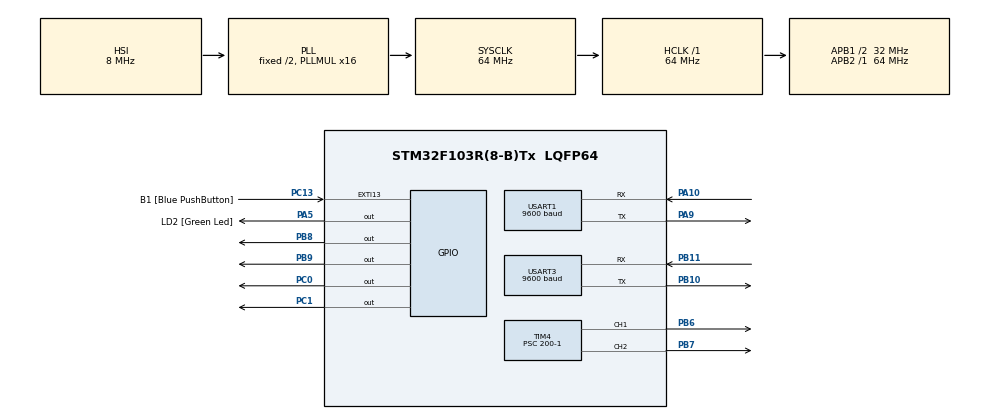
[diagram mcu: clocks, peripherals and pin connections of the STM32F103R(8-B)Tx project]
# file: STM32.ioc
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Mcu.Family=STM32F1
Mcu.Name=STM32F103R(8-B)Tx
Mcu.Package=LQFP64
NVIC.EXTI15_10_IRQn=true\:0\:0\:false\:false\:true\:true\:true
NVIC.PriorityGroup=NVIC_PRIORITYGROUP_4
NVIC.USART1_IRQn=true\:0\:0\:false\:false\:true\:true\:true
PA10.Mode=Asynchronous
PA10.Signal=USART1_RX
PA13.GPIO_Label=TMS
PA13.Mode=Serial_Wire
PA13.Signal=SYS_JTMS-SWDIO
PA14.GPIO_Label=TCK
PA14.Mode=Serial_Wire
PA14.Signal=SYS_JTCK-SWCLK
PA2.GPIO_Label=USART_TX
PA2.GPIO_Mode=GPIO_MODE_AF_PP
PA2.GPIO_PuPd=GPIO_NOPULL
PA2.GPIO_Speed=GPIO_SPEED_FREQ_LOW
PA2.Signal=USART2_TX
PA3.GPIO_Label=USART_RX
PA3.GPIO_Mode=GPIO_MODE_AF_PP
PA3.GPIO_PuPd=GPIO_NOPULL
PA3.GPIO_Speed=GPIO_SPEED_FREQ_LOW
PA3.Signal=USART2_RX
PA5.GPIO_Label=LD2 [Green Led]
PA5.GPIO_ModeDefaultOutputPP=GPIO_MODE_OUTPUT_PP
PA5.GPIO_PuPd=GPIO_NOPULL
PA5.GPIO_Speed=GPIO_SPEED_FREQ_LOW
PA5.Signal=GPIO_Output
PA9.GPIO_Speed=GPIO_SPEED_FREQ_LOW
PA9.Mode=Asynchronous
PA9.Signal=USART1_TX
PB10.Mode=Asynchronous
PB10.Signal=USART3_TX
PB11.Mode=Asynchronous
PB11.Signal=USART3_RX
PB3.GPIO_Label=SWO
PB3.Signal=SYS_JTDO-TRACESWO
PB6.Signal=S_TIM4_CH1
PB7.Signal=S_TIM4_CH2
PB8.Signal=GPIO_Output
PB9.Signal=GPIO_Output
PC0.Signal=GPIO_Output
PC1.Signal=GPIO_Output
PC13-TAMPER-RTC.GPIO_Label=B1 [Blue PushButton]
PC13-TAMPER-RTC.GPIO_PuPd=GPIO_NOPULL
PC13-TAMPER-RTC.Signal=GPXTI13
PC14-OSC32_IN.Mode=LSE-External-Oscillator
PC14-OSC32_IN.Signal=RCC_OSC32_IN
PC15-OSC32_OUT.Mode=LSE-External-Oscillator
PC15-OSC32_OUT.Signal=RCC_OSC32_OUT
PD0-OSC_IN.Mode=HSE-External-Clock-Source
PD0-OSC_IN.Signal=RCC_OSC_IN
PD1-OSC_OUT.Mode=HSE-External-Clock-Source
PD1-OSC_OUT.Signal=RCC_OSC_OUT
ProjectManager.HeapSize=0x200
ProjectManager.StackSize=0x400
ProjectManager.TargetToolchain=STM32CubeIDE
RCC.AHBFreq_Value=64000000
RCC.APB1CLKDivider=RCC_HCLK_DIV2
RCC.APB1Freq_Value=32000000
RCC.APB1TimFreq_Value=64000000
RCC.APB2Freq_Value=64000000
RCC.APB2TimFreq_Value=64000000
RCC.HCLKFreq_Value=64000000
RCC.PLLMUL=RCC_PLL_MUL16
RCC.RTCClockSelection=RCC_RTCCLKSOURCE_LSE
RCC.SYSCLKFreq_VALUE=64000000
RCC.SYSCLKSource=RCC_SYSCLKSOURCE_PLLCLK
RCC.USBFreq_Value=64000000
SH.S_TIM4_CH1.0=TIM4_CH1,PWM Generation1 CH1
SH.S_TIM4_CH2.0=TIM4_CH2,PWM Generation2 CH2
TIM4.Channel-PWM\ Generation1\ CH1=TIM_CHANNEL_1
TIM4.Channel-PWM\ Generation2\ CH2=TIM_CHANNEL_2
TIM4.Period=1000-1
TIM4.Prescaler=200-1
USART1.BaudRate=9600
USART1.VirtualMode=VM_ASYNC
USART3.BaudRate=9600
USART3.VirtualMode=VM_ASYNC
board=NUCLEO-F103RB

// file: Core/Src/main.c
/* USER CODE BEGIN Header */
/**
  ******************************************************************************
  * @file           : main.c
  * @brief          : Main program body
  ******************************************************************************
  * @attention
  *
  * <h2><center>&copy; Copyright (c) 2020 STMicroelectronics.
  * All rights reserved.</center></h2>
  *
  * This software component is licensed by ST under BSD 3-Clause license,
  * the "License"; You may not use this file except in compliance with the
  * License. You may obtain a copy of the License at:
  *                        opensource.org/licenses/BSD-3-Clause
  *
  ******************************************************************************
  */
/* USER CODE END Header */
#include "main.h"

/* USER CODE BEGIN Includes */
#include <stdio.h>
#include <stdlib.h>
#include <stdint.h>
#include <string.h>
/* USER CODE END Includes */

TIM_HandleTypeDef htim4;

UART_HandleTypeDef huart1;
UART_HandleTypeDef huart3;

/* USER CODE BEGIN PV */
uint32_t PWM1 = 0;				//current pwm on channel 1
uint32_t PWM2 = 0;				//current pwm on channel 2

uint8_t dataUART1[32];			//buffor for uart data
/* USER CODE END PV */

void SystemClock_Config(void);
static void MX_GPIO_Init(void);
static void MX_USART3_UART_Init(void);
static void MX_USART1_UART_Init(void);
static void MX_TIM4_Init(void);
/* USER CODE BEGIN PFP */

/*
 * printf override
 * */
int __io_putchar(int ch)
{
	HAL_UART_Transmit(&huart3, (uint8_t*)&ch, 1, 1000);
	return ch;
}

/*
 * Set pwm on specified channel
 * */
void SetPWM(uint8_t channelIndex, uint32_t value)
{
	TIM_OC_InitTypeDef sConfigOC = {0};

	sConfigOC.OCMode = TIM_OCMODE_PWM1;
	sConfigOC.OCPolarity = TIM_OCPOLARITY_HIGH;
	sConfigOC.OCFastMode = TIM_OCFAST_DISABLE;

	if(channelIndex == 1){
		HAL_TIM_PWM_Stop(&htim4, TIM_CHANNEL_1);

		PWM1 = value;
		sConfigOC.Pulse = value;

		if (HAL_TIM_PWM_ConfigChannel(&htim4, &sConfigOC, TIM_CHANNEL_1) != HAL_OK)
		{
			Error_Handler();
		}

		HAL_TIM_PWM_Start(&htim4, TIM_CHANNEL_1);
	}

	if(channelIndex == 2){
		HAL_TIM_PWM_Stop(&htim4, TIM_CHANNEL_2);

		PWM2 = value;
		sConfigOC.Pulse = value;

		if (HAL_TIM_PWM_ConfigChannel(&htim4, &sConfigOC, TIM_CHANNEL_2) != HAL_OK)
		{
			Error_Handler();
		}

		HAL_TIM_PWM_Start(&htim4, TIM_CHANNEL_2);
	}
}

/*
 * Help to print response from HM10 with different data size
 * */
void PrintResponse(uint8_t size){
	for(uint8_t i = 0; i < size ;i++){
		printf("%c", dataUART1[i]);
	}
	printf("\r\n");
}

/*
 * Just send welcome message to HM10
 * */
void SendOK(void)
{
	HAL_UART_Transmit(&huart1, (uint8_t*)"AT", strlen("AT"), 100);

	HAL_UART_Receive(&huart1, dataUART1, 2, 1000);

	printf("OK response: ");
	PrintResponse(2);

	HAL_Delay(100);
}

/*
 * Send bound rate to HM10
 * */
void SendBaud(void)
{
	HAL_UART_Transmit(&huart1, (uint8_t*)"AT+BAUD0", strlen("AT+BAUD0"), 100);

	HAL_UART_Receive(&huart1, dataUART1, 8, 1000);

	printf("Baud response: ");
	PrintResponse(8);

	HAL_Delay(100);
}

/*
 * Send BT name to HM10
 * */
void SendName(void)
{
	HAL_UART_Transmit(&huart1, (uint8_t*)"AT+NAMEstm32car", strlen("AT+NAMEstm32car"), 100);

	HAL_UART_Receive(&huart1, dataUART1, 16, 1000);

	printf("Name response: ");
	PrintResponse(16);

	HAL_Delay(100);
}

/*
 * Send PIN code to HM10
 * */
void SendPIN(void)
{
	HAL_UART_Transmit(&huart1, (uint8_t*)"AT+PASS123456", strlen("AT+PASS123456"), 100);

	HAL_UART_Receive(&huart1, dataUART1, 14, 1000);

	printf("Pin response: ");
	PrintResponse(13);

	HAL_Delay(100);
}

/*
 * Make PIN required (1) or not (0)
 * */
void SendBond(void)
{
	HAL_UART_Transmit(&huart1, (uint8_t*)"AT+TYPE1", strlen("AT+TYPE1"), 100);

	HAL_UART_Receive(&huart1, dataUART1, 8, 1000);

	printf("Bond response: ");
	PrintResponse(8);

	HAL_Delay(100);
}

/*
 * Set role master (0) or slave (1)
 * */
void SendRole(void)
{
	HAL_UART_Transmit(&huart1, (uint8_t*)"AT+ROLE0", strlen("AT+ROLE0"), 100);

	HAL_UART_Receive(&huart1, dataUART1, 8, 1000);

	printf("Role response: ");
	PrintResponse(8);

	HAL_Delay(100);
}

/*
 * Send power value to HM10
 * */
void SendPower(void)
{
	HAL_UART_Transmit(&huart1, (uint8_t*)"AT+POWE2", strlen("AT+POWE2"), 100);

	HAL_UART_Receive(&huart1, dataUART1, 8, 1000);

	printf("Power response: ");
	PrintResponse(8);

	HAL_Delay(100);
}

/*
 * Send mode to HM10
 * */
void SendMode(void)
{
	HAL_UART_Transmit(&huart1, (uint8_t*)"AT+MODE2", strlen("AT+MODE2"), 100);

	HAL_UART_Receive(&huart1, dataUART1, 8, 1000);

	printf("Mode response: ");
	PrintResponse(8);

	HAL_Delay(100);
}

/*
 * Send IMME type to HM10
 * */
void SendImme(void)
{
	HAL_UART_Transmit(&huart1, (uint8_t*)"AT+IMME0", strlen("AT+IMME0"), 100);

	HAL_UART_Receive(&huart1, dataUART1, 8, 1000);

	printf("Imme response: ");
	PrintResponse(8);

	HAL_Delay(100);
}

/*
 * Clear module config
 * */
void SendRenew(void)
{
	HAL_UART_Transmit(&huart1, (uint8_t*)"AT+RENEW", strlen("AT+RENEW"), 100);

	HAL_UART_Receive(&huart1, dataUART1, 8, 1000);

	printf("Renew response: ");
	PrintResponse(8);

	HAL_Delay(100);
}

/*
 * Clear last connected device value in module
 * */
void SendClear(void)
{
	HAL_UART_Transmit(&huart1, (uint8_t*)"AT+CLEAR", strlen("AT+CLEAR"), 100);

	HAL_UART_Receive(&huart1, dataUART1, 8, 1000);

	printf("Clear response: ");
	PrintResponse(8);

	HAL_Delay(100);
}

/*
 * Return firmware version
 * */
void SendVers(void)
{
	HAL_UART_Transmit(&huart1, (uint8_t*)"AT+VERS?", strlen("AT+VERS?"), 100);

	HAL_UART_Receive(&huart1, dataUART1, 12, 1000);

	printf("Verr response: ");
	PrintResponse(12);

	HAL_Delay(100);
}

/*
 * Calculate flecher checksum
 * */
uint16_t CalculateChecksum(void){

	uint16_t a = 0;
	uint16_t b = 0;

	for(uint8_t i = 0; i < 9 ; i++){
		a = (uint8_t)((a + dataUART1[i]) % 255);
		b = (uint8_t)((a + b) % 255);
	}

	return (uint16_t)((b << 8) | a);

}

void CaseAccelerometer(void){
	//throttle

	if((char)dataUART1[5] == '+'){
		HAL_GPIO_WritePin(GPIOB, GPIO_PIN_8, GPIO_PIN_SET);
		HAL_GPIO_WritePin(GPIOB, GPIO_PIN_9, GPIO_PIN_RESET);
	}
	else{
		HAL_GPIO_WritePin(GPIOB, GPIO_PIN_8, GPIO_PIN_RESET);
		HAL_GPIO_WritePin(GPIOB, GPIO_PIN_9 , GPIO_PIN_SET);
	}

	if(dataUART1[6] < 50){
		SetPWM(1, 150*dataUART1[6]);
	}
	else{
		SetPWM(1, 100*dataUART1[6]);
	}

	//right/left

	if((char)dataUART1[3] == '+'){
		HAL_GPIO_WritePin(GPIOC, GPIO_PIN_0, GPIO_PIN_SET);
		HAL_GPIO_WritePin(GPIOC, GPIO_PIN_1, GPIO_PIN_RESET);
	}
	else{
		HAL_GPIO_WritePin(GPIOC, GPIO_PIN_0, GPIO_PIN_RESET);
		HAL_GPIO_WritePin(GPIOC, GPIO_PIN_1 , GPIO_PIN_SET);
	}

	SetPWM(2, 100*dataUART1[4]);

	/*if(dataUART1[6] < 50){
		SetPWM(2, 100*dataUART1[4]);
	}
	else{
		SetPWM(2, 1000);
	}*/

}

void CaseButtons(void){
	//throttle
	if((char)dataUART1[5] == '+'){
		HAL_GPIO_WritePin(GPIOB, GPIO_PIN_8, GPIO_PIN_SET);
		HAL_GPIO_WritePin(GPIOB, GPIO_PIN_9, GPIO_PIN_RESET);
	}
	if((char)dataUART1[5] == '-'){
		HAL_GPIO_WritePin(GPIOB, GPIO_PIN_8, GPIO_PIN_RESET);
		HAL_GPIO_WritePin(GPIOB, GPIO_PIN_9, GPIO_PIN_SET);
	}

	if(dataUART1[6] < 50){
		SetPWM(1, 150*dataUART1[6]);
	}
	else{
		SetPWM(1, 100*dataUART1[6]);
	}

	//right/left

	if((char)dataUART1[3] == '+'){
		HAL_GPIO_WritePin(GPIOC, GPIO_PIN_0, GPIO_PIN_SET);
		HAL_GPIO_WritePin(GPIOC, GPIO_PIN_1, GPIO_PIN_RESET);
	}
	if((char)dataUART1[3] == '-'){
		HAL_GPIO_WritePin(GPIOC, GPIO_PIN_0, GPIO_PIN_RESET);
		HAL_GPIO_WritePin(GPIOC, GPIO_PIN_1 , GPIO_PIN_SET);
	}

	if(dataUART1[4] < 50){
		SetPWM(2, 150*(dataUART1[6]+dataUART1[3]));
	}
	else{
		SetPWM(2, 100*(dataUART1[6]+dataUART1[3]));
	}
}

/*
 * Decide what to do with received data
 * */
void AnalyzeData(void)
{
	uint16_t received_checksum = (dataUART1[7] << 8) | dataUART1[8];

	dataUART1[7] = 0;
	dataUART1[8] = 0;

	uint16_t calculated_checksum = CalculateChecksum();

	if(calculated_checksum != received_checksum){
		printf("Mode: E, Values: ERROR %X %X\r\n", received_checksum, calculated_checksum);
	}
	else{
		printf("Mode: %c, Values: %c%u %c%u %c%u %X %X\r\n", (char)dataUART1[0],
				(char)dataUART1[1], dataUART1[2], (char)dataUART1[3],
				dataUART1[4], (char)dataUART1[5], dataUART1[6], received_checksum, calculated_checksum);

		if(dataUART1[0] == 'A'){
			CaseAccelerometer();
		}

		if(dataUART1[0] == 'B'){
			CaseButtons();
		}
	}
}

/*
 * Set data to 0 when transmission drop
 * */
void ResetData(){
	dataUART1[0] = 0;
	dataUART1[1] = 0;
	dataUART1[2] = 0;
	dataUART1[3] = 0;
	dataUART1[4] = 0;
	dataUART1[5] = 0;
	dataUART1[6] = 0;
	dataUART1[7] = 0;
	dataUART1[8] = 0;
	dataUART1[9] = 0;
}

/*
 * UART INT callback
 * */
void HAL_UART_RxCpltCallback(UART_HandleTypeDef *huart)
{
	AnalyzeData();

	HAL_NVIC_ClearPendingIRQ(USART1_IRQn);
	//ResetData();
	HAL_UART_Receive_IT(&huart1, dataUART1, 9);
}

/* USER CODE END PFP */

int main(void)
{

  /* MCU Configuration--------------------------------------------------------*/

  /* Reset of all peripherals, Initializes the Flash interface and the Systick. */
  HAL_Init();

  /* Configure the system clock */
  SystemClock_Config();

  /* Initialize all configured peripherals */
  MX_GPIO_Init();
  MX_USART3_UART_Init();
  MX_USART1_UART_Init();
  MX_TIM4_Init();
  /* USER CODE BEGIN 2 */

  printf("STARTED\r\n");

  //send config to HM10
  SendOK();
  SendVers();
  //SendRenew();
  SendClear();
  SendBaud();
  SendName();
  SendBond();
  SendPIN();
  SendRole();
  SendPower();
  SendMode();
  SendImme();

  //forward/back
  HAL_GPIO_WritePin(GPIOB, GPIO_PIN_8, GPIO_PIN_RESET);
  HAL_GPIO_WritePin(GPIOB, GPIO_PIN_9, GPIO_PIN_RESET);

  //right/left
  HAL_GPIO_WritePin(GPIOC, GPIO_PIN_0, GPIO_PIN_RESET);
  HAL_GPIO_WritePin(GPIOC, GPIO_PIN_0, GPIO_PIN_RESET);

  //enable uart interrupt
  HAL_UART_Receive_IT(&huart1, dataUART1, 9);

  //SetPWM(1, 1000);
  printf("Config sent\r\n");

  /* USER CODE END 2 */

  /* Infinite loop */
  /* USER CODE BEGIN WHILE */
  while (1)
  {
	HAL_Delay(600);
	HAL_UART_Receive_IT(&huart1, dataUART1, 9);

    /* USER CODE END WHILE */

  }
}

void SystemClock_Config(void)
{
  RCC_OscInitTypeDef RCC_OscInitStruct = {0};
  RCC_ClkInitTypeDef RCC_ClkInitStruct = {0};

  /** Initializes the RCC Oscillators according to the specified parameters
  * in the RCC_OscInitTypeDef structure.
  */
  RCC_OscInitStruct.OscillatorType = RCC_OSCILLATORTYPE_HSI;
  RCC_OscInitStruct.HSIState = RCC_HSI_ON;
  RCC_OscInitStruct.HSICalibrationValue = RCC_HSICALIBRATION_DEFAULT;
  RCC_OscInitStruct.PLL.PLLState = RCC_PLL_ON;
  RCC_OscInitStruct.PLL.PLLSource = RCC_PLLSOURCE_HSI_DIV2;
  RCC_OscInitStruct.PLL.PLLMUL = RCC_PLL_MUL16;
  if (HAL_RCC_OscConfig(&RCC_OscInitStruct) != HAL_OK)
  {
    Error_Handler();
  }
  /** Initializes the CPU, AHB and APB buses clocks
  */
  RCC_ClkInitStruct.ClockType = RCC_CLOCKTYPE_HCLK|RCC_CLOCKTYPE_SYSCLK
                              |RCC_CLOCKTYPE_PCLK1|RCC_CLOCKTYPE_PCLK2;
  RCC_ClkInitStruct.SYSCLKSource = RCC_SYSCLKSOURCE_PLLCLK;
  RCC_ClkInitStruct.AHBCLKDivider = RCC_SYSCLK_DIV1;
  RCC_ClkInitStruct.APB1CLKDivider = RCC_HCLK_DIV2;
  RCC_ClkInitStruct.APB2CLKDivider = RCC_HCLK_DIV1;

  if (HAL_RCC_ClockConfig(&RCC_ClkInitStruct, FLASH_LATENCY_2) != HAL_OK)
  {
    Error_Handler();
  }
}

static void MX_TIM4_Init(void)
{

  TIM_MasterConfigTypeDef sMasterConfig = {0};
  TIM_OC_InitTypeDef sConfigOC = {0};

  htim4.Instance = TIM4;
  htim4.Init.Prescaler = 200-1;
  htim4.Init.CounterMode = TIM_COUNTERMODE_UP;
  htim4.Init.Period = 1000-1;
  htim4.Init.ClockDivision = TIM_CLOCKDIVISION_DIV1;
  htim4.Init.AutoReloadPreload = TIM_AUTORELOAD_PRELOAD_DISABLE;
  if (HAL_TIM_PWM_Init(&htim4) != HAL_OK)
  {
    Error_Handler();
  }
  sMasterConfig.MasterOutputTrigger = TIM_TRGO_RESET;
  sMasterConfig.MasterSlaveMode = TIM_MASTERSLAVEMODE_DISABLE;
  if (HAL_TIMEx_MasterConfigSynchronization(&htim4, &sMasterConfig) != HAL_OK)
  {
    Error_Handler();
  }
  sConfigOC.OCMode = TIM_OCMODE_PWM1;
  sConfigOC.Pulse = 0;
  sConfigOC.OCPolarity = TIM_OCPOLARITY_HIGH;
  sConfigOC.OCFastMode = TIM_OCFAST_DISABLE;
  if (HAL_TIM_PWM_ConfigChannel(&htim4, &sConfigOC, TIM_CHANNEL_1) != HAL_OK)
  {
    Error_Handler();
  }
  if (HAL_TIM_PWM_ConfigChannel(&htim4, &sConfigOC, TIM_CHANNEL_2) != HAL_OK)
  {
    Error_Handler();
  }
  HAL_TIM_MspPostInit(&htim4);

}

static void MX_USART1_UART_Init(void)
{

  huart1.Instance = USART1;
  huart1.Init.BaudRate = 9600;
  huart1.Init.WordLength = UART_WORDLENGTH_8B;
  huart1.Init.StopBits = UART_STOPBITS_1;
  huart1.Init.Parity = UART_PARITY_NONE;
  huart1.Init.Mode = UART_MODE_TX_RX;
  huart1.Init.HwFlowCtl = UART_HWCONTROL_NONE;
  huart1.Init.OverSampling = UART_OVERSAMPLING_16;
  if (HAL_UART_Init(&huart1) != HAL_OK)
  {
    Error_Handler();
  }

}

static void MX_USART3_UART_Init(void)
{

  huart3.Instance = USART3;
  huart3.Init.BaudRate = 9600;
  huart3.Init.WordLength = UART_WORDLENGTH_8B;
  huart3.Init.StopBits = UART_STOPBITS_1;
  huart3.Init.Parity = UART_PARITY_NONE;
  huart3.Init.Mode = UART_MODE_TX_RX;
  huart3.Init.HwFlowCtl = UART_HWCONTROL_NONE;
  huart3.Init.OverSampling = UART_OVERSAMPLING_16;
  if (HAL_UART_Init(&huart3) != HAL_OK)
  {
    Error_Handler();
  }

}

static void MX_GPIO_Init(void)
{
  GPIO_InitTypeDef GPIO_InitStruct = {0};

  /* GPIO Ports Clock Enable */
  __HAL_RCC_GPIOC_CLK_ENABLE();
  __HAL_RCC_GPIOD_CLK_ENABLE();
  __HAL_RCC_GPIOA_CLK_ENABLE();
  __HAL_RCC_GPIOB_CLK_ENABLE();

  /*Configure GPIO pin Output Level */
  HAL_GPIO_WritePin(GPIOC, GPIO_PIN_0|GPIO_PIN_1, GPIO_PIN_RESET);

  /*Configure GPIO pin Output Level */
  HAL_GPIO_WritePin(LD2_GPIO_Port, LD2_Pin, GPIO_PIN_RESET);

  /*Configure GPIO pin Output Level */
  HAL_GPIO_WritePin(GPIOB, GPIO_PIN_8|GPIO_PIN_9, GPIO_PIN_RESET);

  /*Configure GPIO pin : B1_Pin */
  GPIO_InitStruct.Pin = B1_Pin;
  GPIO_InitStruct.Mode = GPIO_MODE_IT_RISING;
  GPIO_InitStruct.Pull = GPIO_NOPULL;
  HAL_GPIO_Init(B1_GPIO_Port, &GPIO_InitStruct);

  /*Configure GPIO pins : PC0 PC1 */
  GPIO_InitStruct.Pin = GPIO_PIN_0|GPIO_PIN_1;
  GPIO_InitStruct.Mode = GPIO_MODE_OUTPUT_PP;
  GPIO_InitStruct.Pull = GPIO_NOPULL;
  GPIO_InitStruct.Speed = GPIO_SPEED_FREQ_LOW;
  HAL_GPIO_Init(GPIOC, &GPIO_InitStruct);

  /*Configure GPIO pins : USART_TX_Pin USART_RX_Pin */
  GPIO_InitStruct.Pin = USART_TX_Pin|USART_RX_Pin;
  GPIO_InitStruct.Mode = GPIO_MODE_AF_PP;
  GPIO_InitStruct.Speed = GPIO_SPEED_FREQ_LOW;
  HAL_GPIO_Init(GPIOA, &GPIO_InitStruct);

  /*Configure GPIO pin : LD2_Pin */
  GPIO_InitStruct.Pin = LD2_Pin;
  GPIO_InitStruct.Mode = GPIO_MODE_OUTPUT_PP;
  GPIO_InitStruct.Pull = GPIO_NOPULL;
  GPIO_InitStruct.Speed = GPIO_SPEED_FREQ_LOW;
  HAL_GPIO_Init(LD2_GPIO_Port, &GPIO_InitStruct);

  /*Configure GPIO pins : PB8 PB9 */
  GPIO_InitStruct.Pin = GPIO_PIN_8|GPIO_PIN_9;
  GPIO_InitStruct.Mode = GPIO_MODE_OUTPUT_PP;
  GPIO_InitStruct.Pull = GPIO_NOPULL;
  GPIO_InitStruct.Speed = GPIO_SPEED_FREQ_LOW;
  HAL_GPIO_Init(GPIOB, &GPIO_InitStruct);

  /* EXTI interrupt init*/
  HAL_NVIC_SetPriority(EXTI15_10_IRQn, 0, 0);
  HAL_NVIC_EnableIRQ(EXTI15_10_IRQn);

}

void Error_Handler(void)
{
}

/************************ (C) COPYRIGHT STMicroelectronics *****END OF FILE****/
